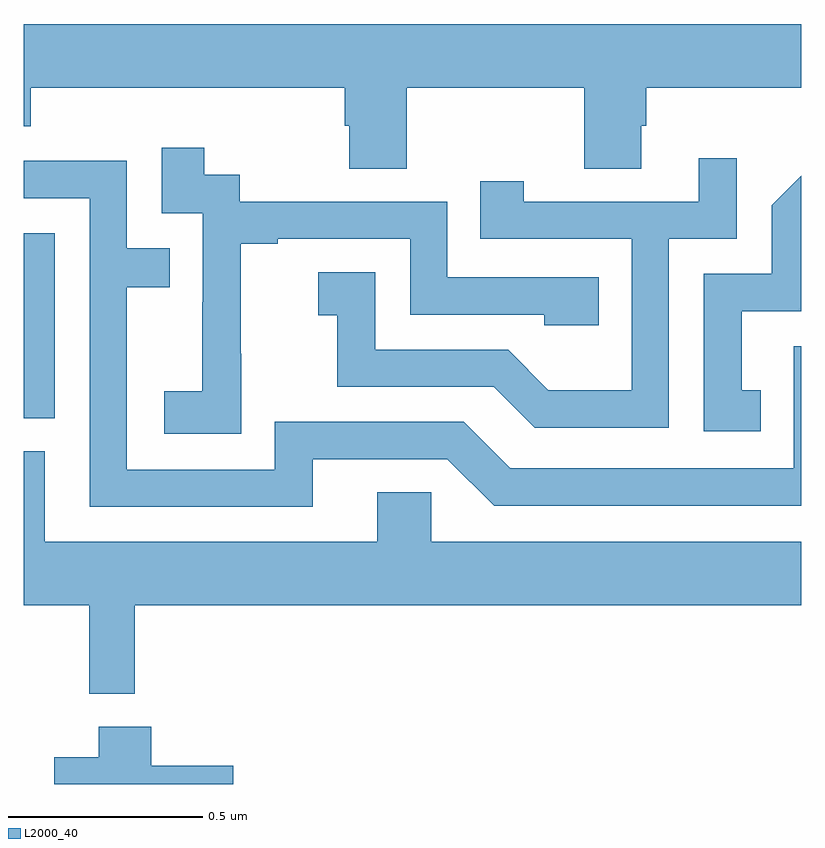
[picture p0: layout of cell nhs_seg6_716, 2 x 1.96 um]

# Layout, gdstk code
import gdstk
lib = gdstk.Library(unit=1e-6, precision=1e-09)
def R(c, l, rs):  # rectangles x0, y0, x1, y1
    for r in rs: c.add(gdstk.rectangle(r[:2], r[2:], *l))
def P(c, l, *ps):  # polygons
    for p in ps: c.add(gdstk.Polygon(p, *l))
L2000_40 = (2000, 40)

nhs_seg6_716 = lib.new_cell('nhs_seg6_716')
R(nhs_seg6_716, L2000_40, [(119,990.441,119.079,990.918)])
P(nhs_seg6_716, L2000_40, [(119.985,991.292),(120.442,991.292),(120.442,991.084),(120.589,991.084),(120.589,991.194),(120.602,991.194),(120.602,991.292),(121,991.292),(121,991.456),(119,991.456),(119,991.193),(119.018,991.193),(119.018,991.292),(119.825,991.292),(119.825,991.194),(119.837,991.194),(119.837,991.084),(119.985,991.084)],
  [(119.559,990.607),(119.558,990.607),(119.558,990.891),(119.653,990.891),(119.653,990.903),(119.994,990.903),(119.994,990.708),(120.339,990.708),(120.339,990.681),(120.479,990.681),(120.479,990.804),(120.09,990.804),(120.09,990.999),(119.556,990.999),(119.556,991.068),(119.464,991.068),(119.464,991.138),(119.355,991.138),(119.355,990.969),(119.46,990.969),(119.46,990.74),(119.459,990.74),(119.459,990.511),(119.361,990.511),(119.361,990.401),(119.559,990.401)],
  [(120.66,990.903),(120.834,990.903),(120.834,991.111),(120.737,991.111),(120.737,990.999),(120.286,990.999),(120.286,991.051),(120.175,991.051),(120.175,990.903),(120.564,990.903),(120.564,990.514),(120.35,990.514),(120.246,990.618),(119.904,990.618),(119.904,990.817),(119.757,990.817),(119.757,990.707),(119.806,990.707),(119.806,990.522),(120.209,990.522),(120.314,990.417),(120.66,990.417)],
  [(119.743,990.336),(120.09,990.336),(120.21,990.216),(121,990.216),(121,990.627),(120.981,990.627),(120.981,990.312),(120.252,990.312),(120.132,990.432),(119.646,990.432),(119.646,990.309),(119.265,990.309),(119.265,990.778),(119.375,990.778),(119.375,990.879),(119.265,990.879),(119.265,991.104),(119,991.104),(119,991.008),(119.169,991.008),(119.169,990.213),(119.743,990.213)],
  [(120.896,990.513),(120.847,990.513),(120.847,990.717),(121,990.717),(121,991.066),(120.924,990.99),(120.924,990.813),(120.75,990.813),(120.75,990.408),(120.896,990.408)],
  [(119.285,989.96),(121,989.96),(121,990.124),(120.048,990.124),(120.048,990.251),(119.909,990.251),(119.909,990.124),(119.053,990.124),(119.053,990.356),(119,990.356),(119,989.96),(119.168,989.96),(119.168,989.732),(119.285,989.732)],
  [(119.539,989.547),(119.327,989.547),(119.327,989.647),(119.192,989.647),(119.192,989.569),(119.078,989.569),(119.078,989.5),(119.539,989.5)])

lib.write_gds('nhs_seg6_716.gds')
